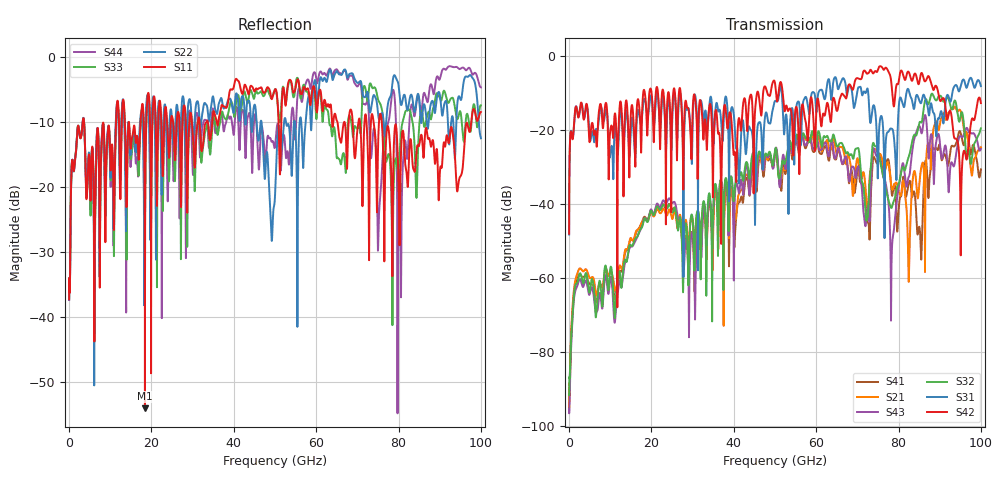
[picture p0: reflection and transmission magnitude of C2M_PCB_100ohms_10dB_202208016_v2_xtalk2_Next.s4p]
! Info: Touchstone file created by Circ.  Input file=Intel_C2M_200G_1p5in_202208016_staggered.circ
# Hz S RI R 50
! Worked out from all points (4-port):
!   10000 points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, 10 MHz to 100 GHz, reference 50 ohm
!   strongest paths, dB at 10 MHz, 25.01 GHz, 50.01 GHz, 75.01 GHz, 100 GHz:
!     S42: -48.1, -16.5, -7.3, -3.7, -12.7
!     S31: -48.3, -18.8, -12.1, -30.9, -8.1
!     S32: -91.7, -42.1, -25.5, -25.7, -19.5
!     S43: -95.6, -39.7, -26.0, -26.6, -25.1
!     S21: -94.8, -44.0, -25.8, -26.1, -24.6
!     S41: -95.9, -41.4, -26.5, -28.4, -30.7
!   lowest |S11| = -54.0 dB at 18.42 GHz (marker M1), VSWR 1.00, Z = 49.9 - j0.14 ohm
!   |S11| at or under -10 dB: start of sweep to 3.316 GHz; 3.64 GHz to 11.39 GHz (7.755 GHz wide, 103 % of centre); 75.92 GHz to 97.67 GHz (21.74 GHz wide, 25.1 % of centre)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
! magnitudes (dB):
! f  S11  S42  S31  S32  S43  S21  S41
! 10 MHz  -37.3  -48.1  -48.3  -91.7  -95.6  -94.8  -95.9
! 18.42 GHz  -54.0  -10.2  -11.7  -43.9  -43.8  -43.9  -43.5
! 56.65 GHz  -5.4  -13.0  -14.1  -21.4  -21.3  -21.5  -21.4
! 78.42 GHz  -26.0  -9.1  -19.7  -40.8  -51.6  -35.9  -37.7
! 86.34 GHz  -12.8  -6.8  -11.0  -12.5  -16.1  -39.3  -30.1
! 95.18 GHz  -18.2  -41.4  -7.7  -15.5  -21.7  -15.1  -21.1
! 100 GHz  -8.5  -12.7  -8.1  -19.5  -25.1  -24.6  -30.7
